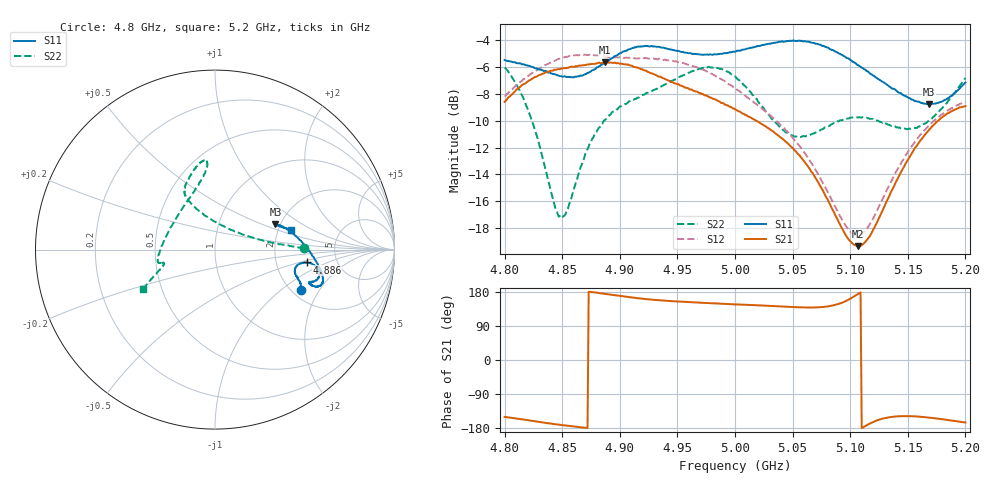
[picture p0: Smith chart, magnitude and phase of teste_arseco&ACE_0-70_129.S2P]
! Network Analyzer HP8722D
! Hewlett-Packard
! Data name: Linha & Wilkinson
! Saver's name: Rodrigo Anjos
! Comments: Teste da utilização de aquisição
! continua pelo VNA HP8722D
! Time and date: 8/5/2025 13:50
!  Frequency  S11  S21  S12  S22
# HZ  S  MA R 50
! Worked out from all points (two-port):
!   401 points, 4.8 GHz to 5.2 GHz, reference 50 ohm
!   highest |S21| = -5.66 dB at 4.887 GHz (marker M1); lowest = -19.3 dB at 5.107 GHz (marker M2)
!   |S21| within 3 dB of the highest: start of sweep to 4.988 GHz
!   lowest |S11| = -8.8 dB at 5.168 GHz (marker M3), VSWR 2.15, Z = 94.3 + j30.5 ohm
!   |S11| at or under -10 dB: nowhere
!   |S22| runs from -17.2 to -6.0 dB; largest |S21 - S12| = 1.1
!   S11 on the Smith chart (normalised r, x): 4.8 GHz: 2.24, -1.41; 4.886 GHz: 3.01, -0.59; 5.2 GHz: 2.35, +0.64
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4.8e9  0.5313 -25.2  0.3716 -150.2  0.3888 9.0  0.4982 1.0
4.821e9  0.5058 -20.9  0.446 -159.3  0.4653 5.9  0.3399 6.0
4.842e9  0.4713 -17.5  0.4849 -168.6  0.5243 2.7  0.1618 35.5
4.848e9  0.463 -16.1  0.4909 -171.0  0.538 1.7  0.1397 58.1
4.854e9  0.4599 -14.6  0.4965 -173.4  0.5457 0.8  0.1465 82.1
4.867e9  0.4637 -11.1  0.5082 -177.8  0.5549 -1.3  0.2171 110.2
4.886e9  0.5165 -7.9  0.5201 175.2  0.5509 -2.5  0.3156 118.4
4.887e9  0.5201 -8.1  0.5214 174.5  0.5488 -2.3  0.3179 118.5
4.912e9  0.5893 -11.5  0.5012 164.4  0.5395 -1.7  0.3778 116.4
4.934e9  0.5949 -16.1  0.4612 157.6  0.5378 -2.7  0.4189 110.5
4.975e9  0.5562 -19.3  0.3923 150.6  0.4844 -6.3  0.4983 97.7
5e9  0.5704 -20.0  0.3485 146.7  0.4191 -6.2  0.4622 95.4
5.044e9  0.6231 -18.3  0.2641 140.7  0.2915 2.1  0.2857 131.9
5.067e9  0.6161 -13.7  0.2029 138.5  0.2179 9.0  0.2824 165.0
5.096e9  0.5447 -3.7  0.119 155.3  0.1286 35.8  0.322 -171.9
5.107e9  0.5081 1.5  0.108 174.5  0.1183 57.1  0.3251 -168.2
5.117e9  0.474 6.6  0.1174 -167.7  0.1302 76.3  0.321 -166.6
5.134e9  0.4233 15.0  0.1662 -151.0  0.182 94.6  0.3048 -166.1
5.151e9  0.3835 20.9  0.2295 -148.3  0.2459 100.1  0.2955 -164.8
5.168e9  0.3646 22.6  0.2912 -152.1  0.3028 101.1  0.315 -161.3
5.183e9  0.379 20.3  0.3326 -157.7  0.3418 101.1  0.3645 -156.9
5.2e9  0.4386 14.6  0.3582 -165.0  0.3717 101.5  0.4559 -151.2
